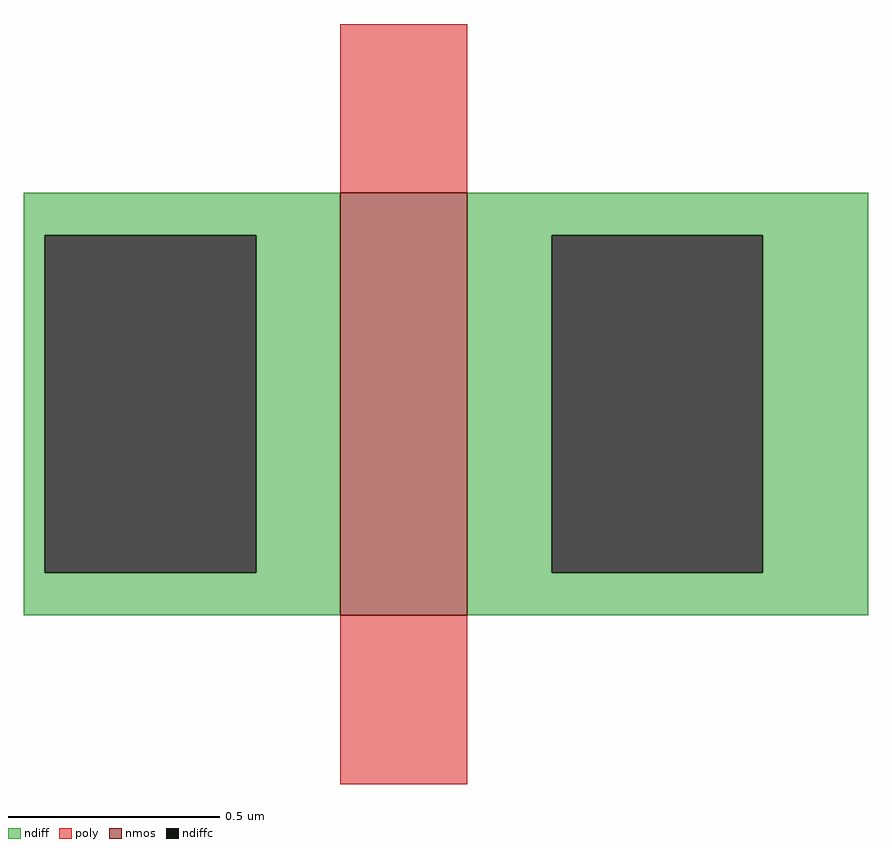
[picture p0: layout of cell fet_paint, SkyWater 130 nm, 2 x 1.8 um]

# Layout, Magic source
magic
tech sky130A
<< nmos >>
rect 75 0 105 100
<< ndiff >>
rect 0 90 75 100
rect 0 10 5 90
rect 55 10 75 90
rect 0 0 75 10
rect 105 90 200 100
rect 105 10 125 90
rect 175 10 200 90
rect 105 0 200 10
<< ndiffc >>
rect 5 10 55 90
rect 125 10 175 90
<< poly >>
rect 75 100 105 140
rect 75 -40 105 0
<< end >>
